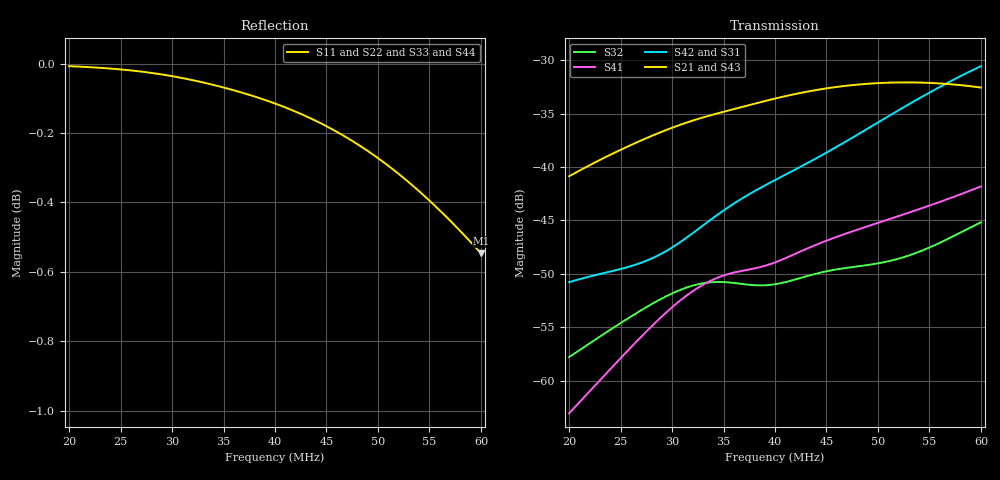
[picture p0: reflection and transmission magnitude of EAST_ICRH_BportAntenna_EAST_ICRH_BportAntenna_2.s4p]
! Touchstone file from project EAST_ICRH_BportAntenna
! Exported from HFSS 2014.0.7
! Variables:
!  d_deemb = 0mm
!  x_spetum = 207mm
!  y_septum = 480mm
!  z_septum = 20mm
# GHZ S RI R 50.000000
! Modal data exported
! Port[1] = 1:1
! Port[2] = 2:1
! Port[3] = 3:1
! Port[4] = 4:1
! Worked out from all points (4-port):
!   81 points, 20 MHz to 60 MHz, reference 50 ohm
!   strongest paths, dB at 20 MHz, 30 MHz, 40 MHz, 50 MHz, 60 MHz:
!     S21: -40.9, -36.3, -33.6, -32.2, -32.6
!     S43: -40.9, -36.4, -33.7, -32.3, -32.8
!     S42: -50.8, -47.5, -41.2, -35.8, -30.6
!     S31: -50.8, -47.5, -41.2, -35.9, -30.6
!     S41: -63.0, -53.1, -48.9, -45.2, -41.8
!     S32: -57.8, -51.8, -51.0, -49.0, -45.2
!   lowest |S11| = -0.5 dB at 60 MHz (marker M1), VSWR 31.82, Z = 19.4 + j167 ohm
!   |S11| at or under -10 dB: nowhere
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0.02  -0.8245 0.5643  0.00559 0.00712  0.00111 0.00267  -0.00067 -0.000219
      0.00559 0.00712  -0.8247 0.5641  -0.00102 -0.000789  0.00111 0.00267
      0.00111 0.00267  -0.00102 -0.000789  -0.8247 0.5641  0.00559 0.0071
      -0.00067 -0.000219  0.00111 0.00267  0.00559 0.0071  -0.8246 0.5642
0.0275  -0.6482 0.7578  0.0115 0.00738  0.00107 0.00348  -0.00168 0.00026
        0.0115 0.00738  -0.6484 0.7576  -0.00218 -0.000384  0.00107 0.00348
        0.00107 0.00348  -0.00218 -0.000384  -0.6486 0.7574  0.0114 0.00734
        -0.00168 0.00026  0.00107 0.00348  0.0114 0.00734  -0.6484 0.7575
0.032  -0.5047 0.857  0.0156 0.00537  0.000836 0.00482  -0.00221 0.00142
       0.0156 0.00537  -0.5048 0.857  -0.00272 0.000626  0.000838 0.00483
       0.000836 0.00482  -0.00272 0.000626  -0.5053 0.8567  0.0155 0.00533
       -0.00221 0.00142  0.000838 0.00483  0.0155 0.00533  -0.505 0.8567
0.038  -0.2662 0.9527  0.0198 0.000273  0.0018 0.00748  -0.00149 0.00301
       0.0198 0.000273  -0.2661 0.9528  -0.00219 0.00175  0.0018 0.00749
       0.0018 0.00748  -0.00219 0.00175  -0.2673 0.9525  0.0196 0.000247
       -0.00149 0.00301  0.0018 0.00749  0.0196 0.000247  -0.267 0.9524
0.0435  -0.00311 0.9819  0.0217 -0.00666  0.00353 0.01  -0.000741 0.00416
        0.0217 -0.00666  -0.00239 0.982  -0.00207 0.00234  0.00354 0.0101
        0.00353 0.01  -0.00207 0.00234  -0.00457 0.982  0.0215 -0.00664
        -0.000741 0.00416  0.00354 0.0101  0.0215 -0.00664  -0.00435 0.9819
0.0515  0.4184 0.8701  0.0174 -0.0177  0.00914 0.0153  0.00164 0.00555
        0.0174 -0.0177  0.4201 0.869  -0.00152 0.00334  0.0092 0.0153
        0.00914 0.0153  -0.00152 0.00334  0.4164 0.871  0.0171 -0.0174
        0.00164 0.00555  0.0092 0.0153  0.0171 -0.0174  0.4165 0.871
0.06  0.7886 0.5099  0.00551 -0.0229  0.024 0.0174  0.00551 0.00596
      0.00551 -0.0229  0.7898 0.5064  -0.000689 0.00547  0.024 0.0174
      0.024 0.0174  -0.000689 0.00547  0.7865 0.5122  0.00547 -0.0223
      0.00551 0.00596  0.024 0.0174  0.00547 -0.0223  0.787 0.5128
